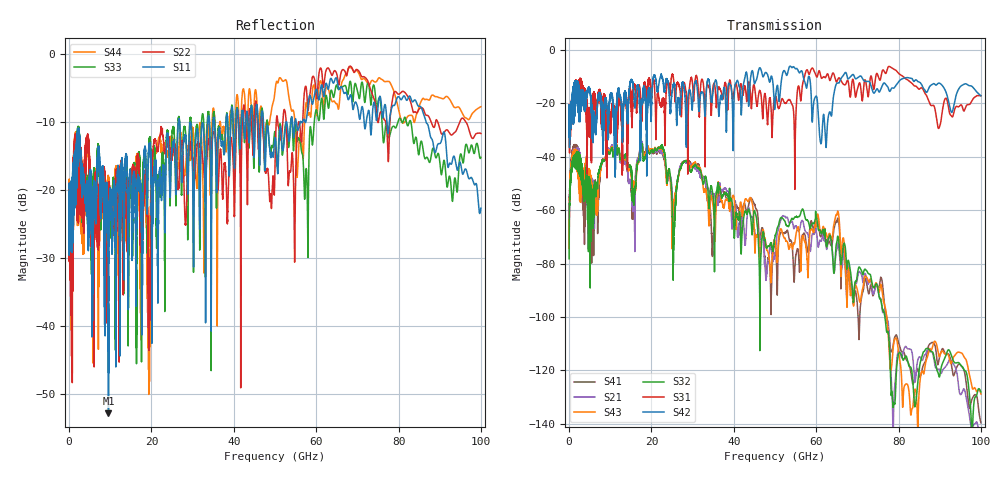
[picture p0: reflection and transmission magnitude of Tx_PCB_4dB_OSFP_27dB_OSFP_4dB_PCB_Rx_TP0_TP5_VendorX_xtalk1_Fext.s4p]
! Info: Touchstone file created by Circ.  Input file=Tx_PCB_4dB_OSFP_27dB_OSFP_4dB_PCB_Rx_TP0_TP5_VendorX.circ
# Hz S RI R 50
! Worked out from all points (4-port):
!   10000 points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, 10 MHz to 100 GHz, reference 50 ohm
!   strongest paths, dB at 10 MHz, 25.01 GHz, 50.01 GHz, 75.01 GHz, 100 GHz:
!     S42: -22.6, -15.9, -20.6, -14.9, -17.2
!     S31: -22.6, -9.3, -17.7, -9.6, -17.1
!     S32: -78.2, -57.8, -69.8, -89.4, -128.0
!     S43: -74.2, -73.9, -71.7, -89.4, -128.8
!     S21: -66.1, -52.4, -76.5, -89.9, -142.9
!     S41: -68.5, -55.5, -73.3, -88.7, -139.6
!   lowest |S11| = -52.8 dB at 9.57 GHz (marker M1), VSWR 1.00, Z = 50.1 - j0.221 ohm
!   |S11| at or under -10 dB: start of sweep to 26.54 GHz; 26.83 GHz to 33.67 GHz (6.839 GHz wide, 22.6 % of centre); 86.66 GHz to end of sweep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
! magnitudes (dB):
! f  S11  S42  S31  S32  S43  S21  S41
! 10 MHz  -19.7  -22.6  -22.6  -78.2  -74.2  -66.1  -68.5
! 1.21 GHz  -16.5  -12.4  -15.6  -39.6  -37.5  -37.2  -35.6
! 9.57 GHz  -52.8  -29.9  -20.7  -38.2  -37.4  -36.7  -38.0
! 47.91 GHz  -12.0  -8.5  -20.7  -74.1  -74.3  -85.3  -83.8
! 61.1 GHz  -5.1  -34.9  -9.8  -68.2  -67.9  -71.4  -69.8
! 66.95 GHz  -5.8  -8.6  -13.1  -72.8  -75.7  -75.7  -78.6
! 100 GHz  -22.7  -17.2  -17.1  -128.0  -128.8  -142.9  -139.6
